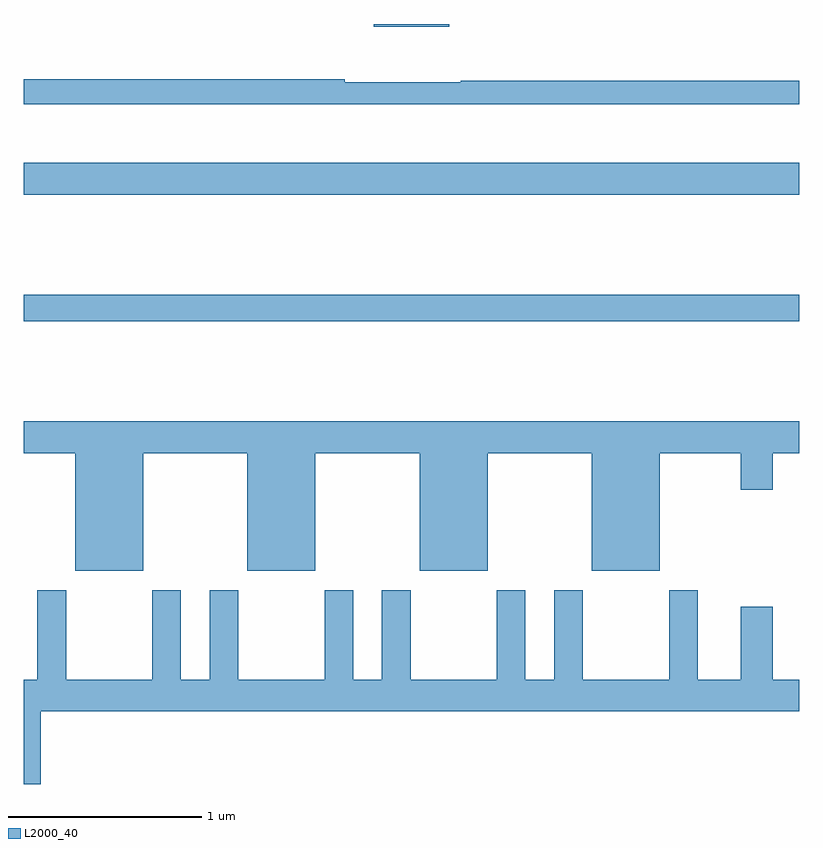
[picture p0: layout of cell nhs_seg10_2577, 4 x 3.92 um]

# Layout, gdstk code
import gdstk
lib = gdstk.Library(unit=1e-6, precision=1e-09)
def R(c, l, rs):  # rectangles x0, y0, x1, y1
    for r in rs: c.add(gdstk.rectangle(r[:2], r[2:], *l))
def P(c, l, *ps):  # polygons
    for p in ps: c.add(gdstk.Polygon(p, *l))
L2000_40 = (2000, 40)

nhs_seg10_2577 = lib.new_cell('nhs_seg10_2577')
R(nhs_seg10_2577, L2000_40, [(249,1328.968,253,1329.104), (249,1329.62,253,1329.784), (250.806,1330.487,251.194,1330.5)])
P(nhs_seg10_2577, L2000_40, [(253,1330.207),(251.255,1330.207),(251.255,1330.199),(250.655,1330.199),(250.655,1330.214),(249,1330.214),(249,1330.086),(253,1330.086)],
  [(249.616,1328.288),(250.154,1328.288),(250.154,1327.682),(250.504,1327.682),(250.504,1328.288),(251.042,1328.288),(251.042,1327.682),(251.392,1327.682),(251.392,1328.288),(251.93,1328.288),(251.93,1327.682),(252.28,1327.682),(252.28,1328.288),(252.698,1328.288),(252.698,1328.1),(252.862,1328.1),(252.862,1328.288),(253,1328.288),(253,1328.452),(249,1328.452),(249,1328.288),(249.266,1328.288),(249.266,1327.682),(249.616,1327.682)],
  [(249.088,1326.956),(253,1326.956),(253,1327.12),(252.862,1327.12),(252.862,1327.495),(252.698,1327.495),(252.698,1327.12),(252.475,1327.12),(252.475,1327.582),(252.328,1327.582),(252.328,1327.12),(251.883,1327.12),(251.883,1327.582),(251.735,1327.582),(251.735,1327.12),(251.587,1327.12),(251.587,1327.582),(251.44,1327.582),(251.44,1327.12),(250.995,1327.12),(250.995,1327.582),(250.847,1327.582),(250.847,1327.12),(250.699,1327.12),(250.699,1327.582),(250.552,1327.582),(250.552,1327.12),(250.107,1327.12),(250.107,1327.582),(249.959,1327.582),(249.959,1327.12),(249.811,1327.12),(249.811,1327.582),(249.664,1327.582),(249.664,1327.12),(249.219,1327.12),(249.219,1327.582),(249.071,1327.582),(249.071,1327.12),(249,1327.12),(249,1326.582),(249.088,1326.582)])

lib.write_gds('nhs_seg10_2577.gds')
